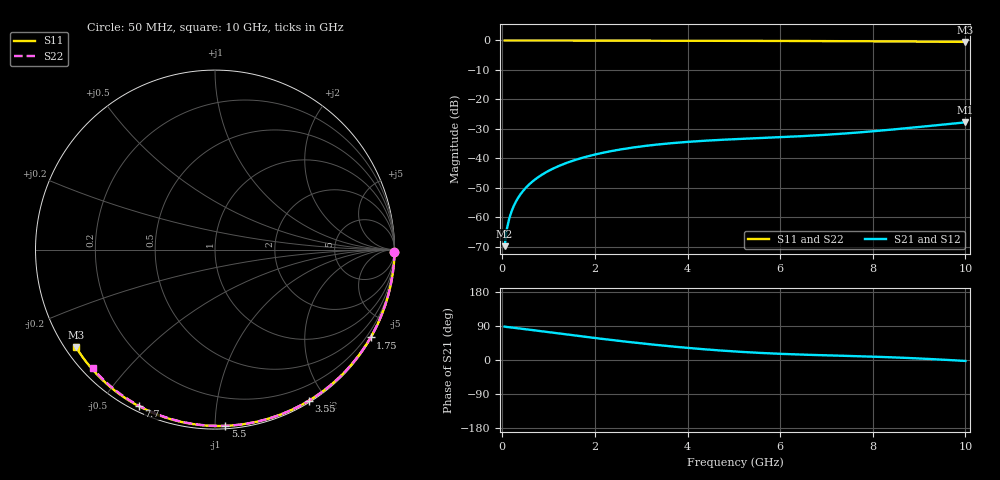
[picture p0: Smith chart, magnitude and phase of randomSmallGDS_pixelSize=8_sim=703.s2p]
! freq	dB(S11)	phase(S11)	dB(S12)	phase(S12)
!  dB(S21)	phase(S21)	dB(S22)	phase(S22)
!S-par simulation data
#  GHz  S  DB  R 50
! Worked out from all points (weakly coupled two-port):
!   200 points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, 50 MHz to 10 GHz, reference 50 ohm
!   highest |S21| = -27.77 dB at 10 GHz (marker M1); lowest = -69.8 dB at 50 MHz (marker M2)
!   lowest |S11| = -0.5 dB at 10 GHz (marker M3), VSWR 36.15, Z = 1.52 - j15.8 ohm
!   |S11| at or under -10 dB: nowhere
!   |S22| runs from -0.4 to 0.0 dB; largest |S21 - S12| = 0
!   S11 on the Smith chart (normalised r, x): 50 MHz: open; 1.75 GHz: 0.03, -3.81; 3.55 GHz: 0.02, -1.80; 5.5 GHz: 0.02, -1.06; 7.7 GHz: 0.02, -0.62; 10 GHz: 0.03, -0.32
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0.05  -0.00 -0.9  -69.76 88.3  -69.76 88.3  -0.00 -0.8
0.1  -0.00 -1.7  -63.84 87.1  -63.84 87.1  -0.00 -1.6
0.15  -0.00 -2.6  -60.40 86.3  -60.40 86.3  -0.00 -2.4
0.2  -0.00 -3.4  -57.95 85.6  -57.95 85.6  -0.00 -3.2
0.25  -0.00 -4.3  -56.04 85.0  -56.04 85.0  -0.00 -4.0
0.35  -0.00 -6.0  -53.16 83.5  -53.16 83.5  -0.00 -5.6
0.5  -0.01 -8.5  -50.10 81.3  -50.10 81.3  -0.01 -8.0
0.7  -0.01 -11.9  -47.23 78.2  -47.23 78.2  -0.01 -11.2
1  -0.02 -17.0  -44.22 73.5  -44.22 73.5  -0.02 -15.9
1.35  -0.03 -22.8  -41.75 68.0  -41.75 68.0  -0.03 -21.3
1.75  -0.04 -29.4  -39.70 61.8  -39.70 61.8  -0.03 -27.5
2.5  -0.05 -41.6  -37.10 50.8  -37.10 50.8  -0.05 -39.0
3.4  -0.07 -55.8  -35.21 38.9  -35.21 38.9  -0.07 -52.3
3.55  -0.08 -58.1  -34.98 37.1  -34.98 37.1  -0.07 -54.5
4.3  -0.10 -69.4  -34.08 28.9  -34.08 28.9  -0.09 -65.1
5.05  -0.12 -80.3  -33.45 22.3  -33.45 22.3  -0.11 -75.4
5.5  -0.14 -86.7  -33.14 19.1  -33.14 19.1  -0.13 -81.4
6.7  -0.20 -103.0  -32.25 13.3  -32.25 13.3  -0.18 -96.8
7.7  -0.26 -116.0  -31.19 9.9  -31.19 9.9  -0.24 -109.0
8.35  -0.31 -124.2  -30.31 7.3  -30.31 7.3  -0.29 -116.7
9.2  -0.39 -134.9  -29.03 2.8  -29.03 2.8  -0.37 -126.6
10  -0.48 -144.9  -27.77 -2.5  -27.77 -2.5  -0.45 -135.8
